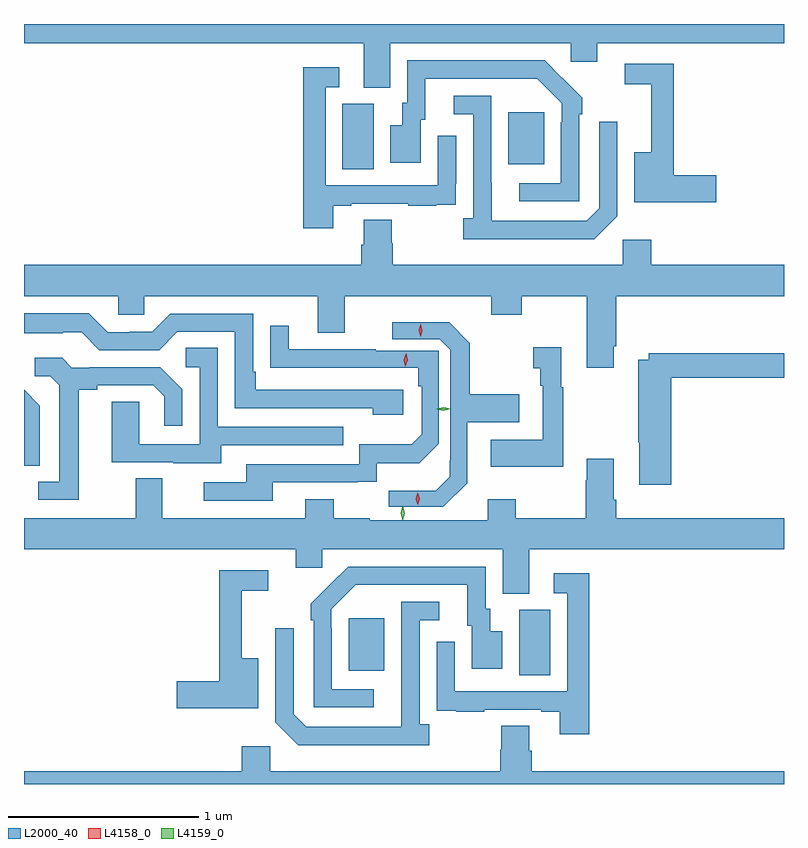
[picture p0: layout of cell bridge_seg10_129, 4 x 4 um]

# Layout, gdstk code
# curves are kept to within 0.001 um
import gdstk
lib = gdstk.Library(unit=1e-6, precision=1e-09)
def R(c, l, rs):  # rectangles x0, y0, x1, y1
    for r in rs: c.add(gdstk.rectangle(r[:2], r[2:], *l))
def P(c, l, *ps):  # polygons
    for p in ps: c.add(gdstk.Polygon(p, *l))
L2000_40 = (2000, 40)
L4158_0 = (4158, 0)
L4159_0 = (4159, 0)

bridge_seg10_129 = lib.new_cell('bridge_seg10_129')
R(bridge_seg10_129, L2000_40, [(362.276,1314.304,362.44,1314.648), (361.379,1314.329,361.567,1314.604), (361.346,1316.968,361.51,1317.312), (362.219,1316.993,362.407,1317.268)])
P(bridge_seg10_129, L2000_40, [(361.597,1317.632),(362.547,1317.632),(362.547,1317.534),(362.686,1317.534),(362.686,1317.632),(363.67,1317.632),(363.67,1317.732),(359.67,1317.732),(359.67,1317.632),(361.457,1317.632),(361.457,1317.397),(361.597,1317.397)],
  [(362.592,1317.257),(362.607,1317.257),(362.607,1317.345),(362.41,1317.54),(361.686,1317.54),(361.686,1317.318),(361.661,1317.318),(361.661,1317.199),(361.598,1317.199),(361.598,1317.003),(361.759,1317.003),(361.759,1317.228),(361.783,1317.228),(361.783,1317.444),(362.371,1317.444),(362.499,1317.315),(362.499,1317.215),(362.496,1317.215),(362.496,1316.895),(362.277,1316.895),(362.277,1316.799),(362.592,1316.799)],
  [(363.313,1316.936),(363.089,1316.936),(363.089,1317.522),(362.832,1317.522),(362.832,1317.414),(362.972,1317.414),(362.972,1317.058),(362.882,1317.058),(362.882,1316.794),(363.313,1316.794)],
  [(361.297,1316.775),(361.393,1316.775),(361.393,1316.787),(361.693,1316.787),(361.693,1316.775),(361.841,1316.775),(361.841,1316.781),(361.943,1316.781),(361.943,1316.89),(361.944,1316.89),(361.944,1317.145),(361.848,1317.145),(361.848,1316.883),(361.257,1316.883),(361.257,1317.399),(361.33,1317.399),(361.33,1317.505),(361.141,1317.505),(361.141,1316.658),(361.297,1316.658)],
  [(362.793,1316.721),(362.793,1317.217),(362.697,1317.217),(362.697,1316.763),(362.631,1316.697),(362.131,1316.697),(362.13,1317.354),(361.932,1317.354),(361.932,1317.258),(362.034,1317.258),(362.034,1316.71),(361.983,1316.71),(361.983,1316.6),(362.672,1316.6)],
  [(362.773,1316.035),(362.786,1316.035),(362.786,1316.3),(363.67,1316.3),(363.67,1316.464),(362.972,1316.464),(362.972,1316.596),(362.82,1316.596),(362.82,1316.464),(361.61,1316.464),(361.61,1316.577),(361.605,1316.577),(361.605,1316.702),(361.457,1316.702),(361.457,1316.57),(361.445,1316.57),(361.445,1316.464),(359.67,1316.464),(359.67,1316.3),(360.165,1316.3),(360.165,1316.202),(360.303,1316.202),(360.303,1316.3),(361.217,1316.3),(361.217,1316.106),(361.357,1316.106),(361.357,1316.3),(362.129,1316.3),(362.129,1316.201),(362.289,1316.201),(362.289,1316.3),(362.633,1316.3),(362.633,1315.923),(362.773,1315.923)],
  [(361.666,1315.806),(360.889,1315.806),(360.889,1315.903),(360.876,1315.903),(360.876,1316.208),(360.441,1316.208),(360.345,1316.112),(360.227,1316.112),(360.227,1316.109),(360.111,1316.109),(360.011,1316.209),(359.67,1316.209),(359.67,1316.105),(359.873,1316.105),(359.873,1316.109),(359.973,1316.109),(360.066,1316.016),(360.381,1316.016),(360.477,1316.112),(360.78,1316.112),(360.78,1315.71),(361.505,1315.71),(361.505,1315.676),(361.666,1315.676)],
  [(362.002,1315.316),(362.003,1315.635),(362.276,1315.635),(362.276,1315.783),(362.017,1315.783),(362.017,1316.053),(361.907,1316.163),(361.609,1316.163),(361.609,1316.073),(361.859,1316.073),(361.914,1316.018),(361.914,1315.433),(361.912,1315.433),(361.912,1315.349),(361.837,1315.275),(361.591,1315.276),(361.591,1315.191),(361.876,1315.191)],
  [(360.979,1315.32),(361.427,1315.32),(361.427,1315.323),(361.527,1315.323),(361.527,1315.421),(361.751,1315.421),(361.853,1315.523),(361.853,1316.012),(361.521,1316.012),(361.521,1316.019),(361.063,1316.019),(361.063,1316.143),(360.967,1316.143),(360.967,1315.924),(361.069,1315.924),(361.069,1315.922),(361.744,1315.922),(361.744,1315.826),(361.764,1315.826),(361.764,1315.573),(361.71,1315.519),(361.434,1315.519),(361.434,1315.416),(360.839,1315.416),(360.839,1315.32),(360.615,1315.32),(360.615,1315.224),(360.979,1315.224)],
  [(362.509,1315.819),(362.497,1315.819),(362.497,1316.032),(362.349,1316.032),(362.349,1315.919),(362.388,1315.919),(362.388,1315.829),(362.4,1315.829),(362.4,1315.543),(362.127,1315.543),(362.127,1315.403),(362.509,1315.403)],
  [(360.709,1315.515),(361.349,1315.515),(361.349,1315.611),(360.69,1315.611),(360.69,1316.027),(360.522,1316.027),(360.522,1315.926),(360.594,1315.926),(360.594,1315.521),(360.276,1315.521),(360.276,1315.745),(360.131,1315.745),(360.131,1315.425),(360.455,1315.425),(360.455,1315.421),(360.709,1315.421)],
  [(363.077,1315.87),(363.67,1315.87),(363.67,1315.999),(362.958,1315.999),(362.958,1315.966),(362.902,1315.966),(362.902,1315.531),(362.909,1315.531),(362.909,1315.308),(363.077,1315.308)],
  [(359.959,1315.808),(360.055,1315.808),(360.055,1315.83),(360.35,1315.83),(360.407,1315.773),(360.407,1315.617),(360.504,1315.617),(360.504,1315.81),(360.388,1315.926),(360.016,1315.926),(360.016,1315.923),(359.922,1315.923),(359.87,1315.975),(359.727,1315.975),(359.727,1315.878),(359.808,1315.878),(359.855,1315.831),(359.855,1315.323),(359.745,1315.323),(359.745,1315.227),(359.959,1315.227)],
  [(359.754,1315.722),(359.67,1315.807),(359.67,1315.408),(359.754,1315.408)],
  [(362.329,1314.968),(363.67,1314.968),(363.67,1315.132),(362.786,1315.132),(362.786,1315.228),(362.773,1315.228),(362.773,1315.444),(362.633,1315.444),(362.633,1315.331),(362.626,1315.331),(362.626,1315.132),(362.259,1315.132),(362.259,1315.231),(362.111,1315.231),(362.111,1315.121),(361.491,1315.121),(361.491,1315.132),(361.299,1315.132),(361.299,1315.231),(361.151,1315.231),(361.151,1315.132),(360.397,1315.132),(360.397,1315.34),(360.257,1315.34),(360.257,1315.132),(359.67,1315.132),(359.67,1314.968),(361.1,1314.968),(361.1,1314.87),(361.239,1314.87),(361.239,1314.968),(362.189,1314.968),(362.189,1314.733),(362.329,1314.733)],
  [(361.51,1314.231),(361.29,1314.231),(361.29,1314.551),(361.287,1314.551),(361.287,1314.651),(361.416,1314.78),(362.003,1314.78),(362.003,1314.564),(362.027,1314.564),(362.027,1314.339),(362.188,1314.339),(362.188,1314.535),(362.125,1314.535),(362.125,1314.654),(362.1,1314.654),(362.1,1314.876),(361.376,1314.876),(361.179,1314.681),(361.179,1314.593),(361.194,1314.593),(361.194,1314.135),(361.51,1314.135)],
  [(360.904,1314.394),(360.815,1314.394),(360.815,1314.75),(360.955,1314.75),(360.955,1314.858),(360.697,1314.858),(360.697,1314.272),(360.474,1314.272),(360.474,1314.13),(360.904,1314.13)],
  [(362.645,1314.841),(362.457,1314.841),(362.457,1314.735),(362.529,1314.735),(362.529,1314.219),(361.938,1314.219),(361.938,1314.481),(361.842,1314.481),(361.842,1314.226),(361.843,1314.226),(361.843,1314.117),(361.945,1314.117),(361.945,1314.111),(362.093,1314.111),(362.093,1314.123),(362.393,1314.123),(362.393,1314.111),(362.489,1314.111),(362.489,1313.994),(362.645,1313.994)],
  [(361.804,1314.046),(361.752,1314.046),(361.752,1314.594),(361.855,1314.594),(361.855,1314.69),(361.656,1314.69),(361.655,1314.033),(361.155,1314.033),(361.089,1314.099),(361.089,1314.553),(360.993,1314.553),(360.993,1314.057),(361.114,1313.936),(361.804,1313.936)],
  [(362.182,1314.038),(362.182,1313.913),(362.177,1313.913),(362.177,1313.8),(360.966,1313.8),(360.966,1313.932),(360.815,1313.932),(360.815,1313.8),(359.67,1313.8),(359.67,1313.732),(363.67,1313.732),(363.67,1313.8),(362.342,1313.8),(362.342,1313.906),(362.329,1313.906),(362.329,1314.038)])
P(bridge_seg10_129, L4158_0, [(361.757,1316.085),(361.757,1316.085),(361.747,1316.119),(361.757,1316.153),(361.757,1316.154),(361.757,1316.153),(361.767,1316.119),(361.757,1316.085)],
  [(361.742,1315.202),(361.733,1315.233),(361.742,1315.264),(361.743,1315.264),(361.743,1315.264),(361.753,1315.233),(361.743,1315.202),(361.743,1315.202)],
  [(361.676,1315.929),(361.676,1315.93),(361.669,1315.964),(361.681,1315.998),(361.681,1315.998),(361.682,1315.998),(361.689,1315.963),(361.676,1315.93)])
P(bridge_seg10_129, L4159_0, [(361.88,1315.696),(361.843,1315.705),(361.843,1315.705),(361.843,1315.706),(361.879,1315.716),(361.916,1315.706),(361.916,1315.706),(361.916,1315.706)],
  [(361.663,1315.12),(361.663,1315.12),(361.653,1315.158),(361.663,1315.196),(361.663,1315.196),(361.663,1315.196),(361.673,1315.158),(361.663,1315.12)])

lib.write_gds('bridge_seg10_129.gds')
